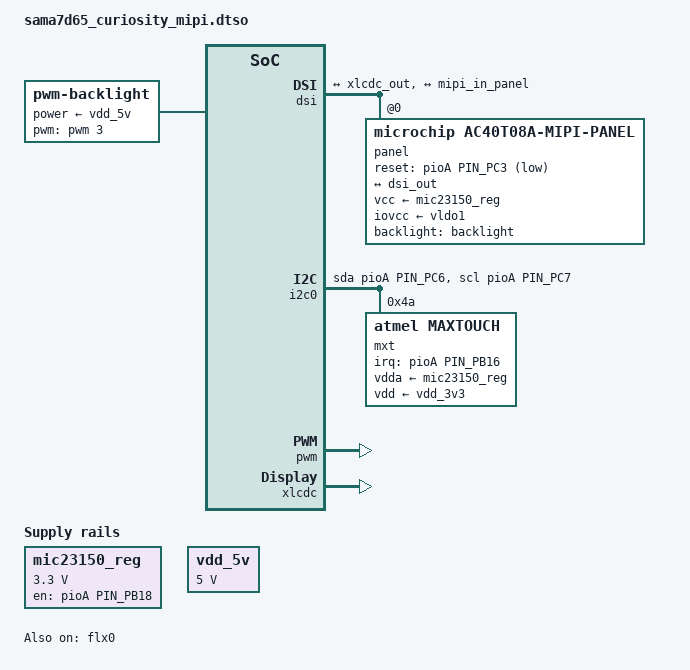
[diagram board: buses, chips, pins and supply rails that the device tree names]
// SPDX-License-Identifier: (GPL-2.0+ OR MIT)
/*
 *  Device Tree overlay for SAMA7D65-CURIOSITY board
 *  in order to use MIPI displays
 *
 *  Copyright (c) 2024 Microchip Technology Inc. and its subsidiaries
 *
 *  Author: Romain Sioen <romain.sioen@microchip.com>
 *
 */
/dts-v1/;
/plugin/;
#include "sama7d65-pinfunc.h"
#include <dt-bindings/mfd/atmel-flexcom.h>
#include <dt-bindings/clock/at91.h>
#include <dt-bindings/pinctrl/at91.h>
#include <dt-bindings/gpio/gpio.h>

&{/}
{
	model = "Microchip SAMA7D65 Curiosity MIPI";

	backlight: backlight {
		compatible = "pwm-backlight";
		pwms = <&pwm 3 1000000 0>;
		brightness-levels = <0 4 8 16 32 64 128 255>;
		default-brightness-level = <7>;
		power-supply = <&vdd_5v>;
	};

	mic23150_reg: mic23150-regulator {
		compatible = "regulator-fixed";
		regulator-name = "panel-power-supply";
		regulator-min-microvolt = <3300000>;
		regulator-max-microvolt = <3300000>;
		gpios = <&pioA PIN_PB18 GPIO_ACTIVE_HIGH>;
		enable-active-high;
	};

	vdd_5v: fixed-regulator-vdd-5v {
 		compatible = "regulator-fixed";
		regulator-name = "VDD_5V";
		regulator-min-microvolt = <5000000>;
		regulator-max-microvolt = <5000000>;
		regulator-always-on;
	};
};

&dsi {
	status = "okay";
	#address-cells = <1>;
	#size-cells = <0>;

	ports {
		#address-cells = <1>;
		#size-cells = <0>;

		port@0 {
			reg = <0>;
			dsi_in: endpoint {
				remote-endpoint = <&xlcdc_out>;
			};
		};

		port@1 {
			reg = <1>;
			dsi_out: endpoint {
				remote-endpoint = <&mipi_in_panel>;
			};
		};
	};

	panel@0 {
		reg = <0>;
		compatible = "microchip,ac40t08a-mipi-panel";
		backlight = <&backlight>;
		vcc-supply = <&mic23150_reg>;
		iovcc-supply = <&vldo1>;
		/* Provide the panel-himax-hx8394 driver with a fake GPIO. */
		reset-gpio = <&pioA PIN_PC3 GPIO_ACTIVE_LOW>; /* Conflict with RPi 40Pin GPIO17 */
		#address-cells = <1>;
		#size-cells = <0>;

		port@0 {
			reg = <0>;
			mipi_in_panel: endpoint {
				remote-endpoint = <&dsi_out>;
			};
		};
	};
};

&flx0 {
	atmel,flexcom-mode = <ATMEL_FLEXCOM_MODE_TWI>;
	status = "okay";
};

&i2c0 {
	#address-cells = <1>;
	#size-cells = <0>;
	pinctrl-names = "default", "gpio";
	pinctrl-0 = <&pinctrl_i2c0_default>;
	pinctrl-1 = <&pinctrl_i2c0_gpio>;
	sda-gpios = <&pioA PIN_PC6 GPIO_ACTIVE_HIGH>;
	scl-gpios = <&pioA PIN_PC7 (GPIO_ACTIVE_HIGH | GPIO_OPEN_DRAIN)>;
	i2c-analog-filter;
	i2c-digital-filter;
	i2c-digital-filter-width-ns = <35>;
	status = "okay";

	mxt: atmel-mxt-ts@4a {
		compatible = "atmel,maxtouch";
		reg = <0x4a>;
		interrupt-parent = <&pioA>;
		interrupts = <PIN_PB16 0x0>;
		pinctrl-names = "default";
		pinctrl-0 = <&pinctrl_mxt_irq>;
		vdda-supply = <&mic23150_reg>;
		vdd-supply = <&vdd_3v3>;
	};
};

&pioA {
	pinctrl_i2c0_default: i2c0-default {
		pinmux = <PIN_PC7__FLEXCOM0_IO0>,
			<PIN_PC6__FLEXCOM0_IO1>;
		bias-pull-up;
	};

	pinctrl_i2c0_gpio: i2c0-gpio{
		pinmux = <PIN_PC7__GPIO>,
			 <PIN_PC6__GPIO>;
		bias-disable;
	};

	pinctrl_lcd_pwm: lcd-pwm {
		pinmux = <PIN_PB14__PWMH3>;
		bias-disable;
	};

	pinctrl_mxt_irq: pinctrl-mxt-irq {
		pinmux = <PIN_PB16__GPIO>;
		bias-pull-up;
		input-debounce = <1>;
	};
};

&pwm {
	pinctrl-names = "default";
	pinctrl-0 = <&pinctrl_lcd_pwm>;
	status = "okay";
};

&xlcdc {
	clocks = <&pmc PMC_TYPE_PERIPHERAL 56>, <&pmc PMC_TYPE_GCK 56>, <&clk32k 1>;
	clock-names = "periph_clk", "sys_clk", "slow_clk";
	assigned-clocks = <&pmc PMC_TYPE_GCK 56>;
	assigned-clock-rates = <66000000>;
	assigned-clock-parents = <&pmc PMC_TYPE_CORE PMC_MCK1>;
	status = "okay";

	hlcdc-display-controller {
		port@0 {
			#address-cells = <1>;
			#size-cells = <0>;
			xlcdc_out: endpoint@0 {
				reg = <0>;
				remote-endpoint = <&dsi_in>;
			};
		};
	};
};
